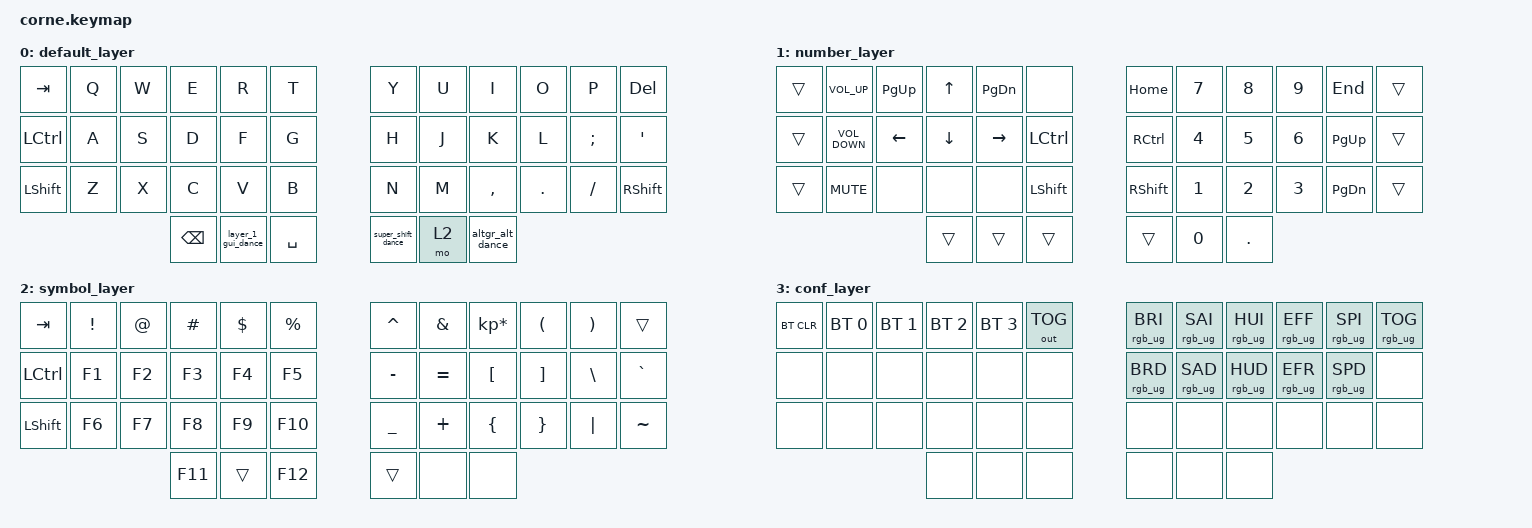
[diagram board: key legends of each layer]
/*
 * Copyright (c) 2020 The ZMK Contributors
 *
 * SPDX-License-Identifier: MIT
 */

#include <behaviors.dtsi>
#include <dt-bindings/zmk/bt.h>
#include <dt-bindings/zmk/keys.h>
#include <dt-bindings/zmk/outputs.h>
#include <dt-bindings/zmk/rgb.h>

&led_strip {
    chain-length = <27>;// 6 underglow, 21 backlight
};

/ {
    combos {
        compatible = "zmk,combos";

        caps_word {
            bindings = <&caps_word>;
            key-positions = <17 18>;
        };

        enter {
            bindings = <&kp ENTER>;
            key-positions = <19 20>;
        };

        space {
            bindings = <&kp SPACE>;
            key-positions = <15 16>;
        };

        conf_layer {
            bindings = <&to 3>;
            key-positions = <36 37 38>;
        };

        conf_layer_exit {
            bindings = <&to 0>;
            key-positions = <39 40 41>;
        };

        bt_clear {
            bindings = <&bt BT_CLR>;
            key-positions = <39 36>;
            layers = <3>;
        };

        escape {
            bindings = <&kp ESCAPE>;
            key-positions = <13 14>;
        };
    };

    behaviors {
        super_shift_dance: super_shift_dance {
            compatible = "zmk,behavior-tap-dance";
            label = "SUPER_SHIFT_DANCE";
            #binding-cells = <0>;
            bindings = <&kp RIGHT_GUI>, <&kp RS(RIGHT_GUI)>;

            tapping-term-ms = <333>;
        };

        altgr_alt_dance: altgr_alt_dance {
            compatible = "zmk,behavior-tap-dance";
            label = "ALTGR_ALT_DANCE";
            #binding-cells = <0>;
            bindings = <&kp RIGHT_ALT>, <&kp LALT>;

            tapping-term-ms = <333>;
        };

        layer_1_gui_dance: layer_1_gui_dance {
            compatible = "zmk,behavior-tap-dance";
            label = "LAYER_1_GUI_DANCE";
            #binding-cells = <0>;
            bindings = <&mo 1>, <&kp LEFT_GUI>, <&kp LS(LEFT_GUI)>;

            tapping-term-ms = <333>;
        };
    };

    keymap {
        compatible = "zmk,keymap";

        default_layer {
            // -----------------------------------------------------------------------------------------
            // |  TAB |  Q  |  W  |  E  |  R  |  T  |---|  Y  |  U  |  I  |  O  |  P  | BKSP |
            // | CTRL |  A  |  S  |  D  |  F  |  G  |---|  H  |  J  |  K  |  L  |  ;  |  '   |
            // | SHFT |  Z  |  X  |  C  |  V  |  B  |---|  N  |  M  |  ,  |  .  |  /  | SHFT |
            //                  |ALT/ESC| NUM |MOD/SPC|-|MOD/ENT| SYM |ALTgr/BKSP|

            bindings = <
&kp TAB    &kp Q  &kp W  &kp E     &kp R               &kp T        &kp Y               &kp U  &kp I             &kp O    &kp P     &kp DELETE
&kp LCTRL  &kp A  &kp S  &kp D     &kp F               &kp G        &kp H               &kp J  &kp K             &kp L    &kp SEMI  &kp SQT
&kp LSHFT  &kp Z  &kp X  &kp C     &kp V               &kp B        &kp N               &kp M  &kp COMMA         &kp DOT  &kp FSLH  &kp RSHFT
                         &kp BSPC  &layer_1_gui_dance  &kp SPACE    &super_shift_dance  &mo 2  &altgr_alt_dance
            >;
        };

        number_layer {
            // -----------------------------------------------------------------------------------------
            // | BTCLR| BT0 |    | UP |    |   |---|HOM| 7 | 8 | 9 |END|  BKSP  |
            // |BLEout| BT1 |LEFT|DOWN|RIHT|CTL|---|CTL| 4 | 5 | 6 |PUP| RGBeff |
            // |USBout| BT2 |    |    |    |SHT|---|SHT| 1 | 2 | 3 |PDW| RGBtog |
            //                    |    |    |MOD|-|MOD| 0 | . |

            bindings = <
&trans  &kp C_VOL_UP       &kp PAGE_UP  &kp UP    &kp PAGE_DOWN  &none        &kp HOME   &kp N7  &kp N8   &kp N9  &kp END    &trans
&trans  &kp C_VOLUME_DOWN  &kp LEFT     &kp DOWN  &kp RIGHT      &kp LCTRL    &kp RCTRL  &kp N4  &kp N5   &kp N6  &kp PG_UP  &trans
&trans  &kp C_MUTE         &none        &none     &none          &kp LSHFT    &kp RSHFT  &kp N1  &kp N2   &kp N3  &kp PG_DN  &trans
                                        &trans    &trans         &trans       &trans     &kp N0  &kp DOT
            >;
        };

        symbol_layer {
            // -----------------------------------------------------------------------------------------
            // |  TAB |  !  |  @  |  #  |  $  |  %  |---|  ^  |  &  |  *  |  (  |  )  |  DEL |
            // | CTRL |  F1 |  F2 |  F3 |  F4 |  F5 |---|  -  |  =  |  [  |  ]  |  \  |  `   |
            // | SHFT |  F6 |  F7 |  F8 |  F9 | F10 |---|  _  |  +  |  {  |  }  | "|" |  ~   |
            //                    | F11 |     | F12 |---|     |     |     |

            bindings = <
&kp TAB    &kp EXCL  &kp AT  &kp HASH  &kp DLLR  &kp PRCNT    &kp CARET  &kp AMPS   &kp KP_MULTIPLY  &kp LPAR  &kp RPAR  &trans
&kp LCTRL  &kp F1    &kp F2  &kp F3    &kp F4    &kp F5       &kp MINUS  &kp EQUAL  &kp LBKT         &kp RBKT  &kp BSLH  &kp GRAVE
&kp LSHFT  &kp F6    &kp F7  &kp F8    &kp F9    &kp F10      &kp UNDER  &kp PLUS   &kp LBRC         &kp RBRC  &kp PIPE  &kp TILDE
                             &kp F11   &trans    &kp F12      &trans     &none      &none
            >;
        };

        conf_layer {
            bindings = <
&bt BT_CLR  &bt BT_SEL 0  &bt BT_SEL 1  &bt BT_SEL 2  &bt BT_SEL 3  &out OUT_TOG    &rgb_ug RGB_BRI  &rgb_ug RGB_SAI  &rgb_ug RGB_HUI  &rgb_ug RGB_EFF  &rgb_ug RGB_SPI  &rgb_ug RGB_TOG
&none       &none         &none         &none         &none         &none           &rgb_ug RGB_BRD  &rgb_ug RGB_SAD  &rgb_ug RGB_HUD  &rgb_ug RGB_EFR  &rgb_ug RGB_SPD  &none
&none       &none         &none         &none         &none         &none           &none            &none            &none            &none            &none            &none
                                        &none         &none         &none           &none            &none            &none
            >;
        };
    };
};
